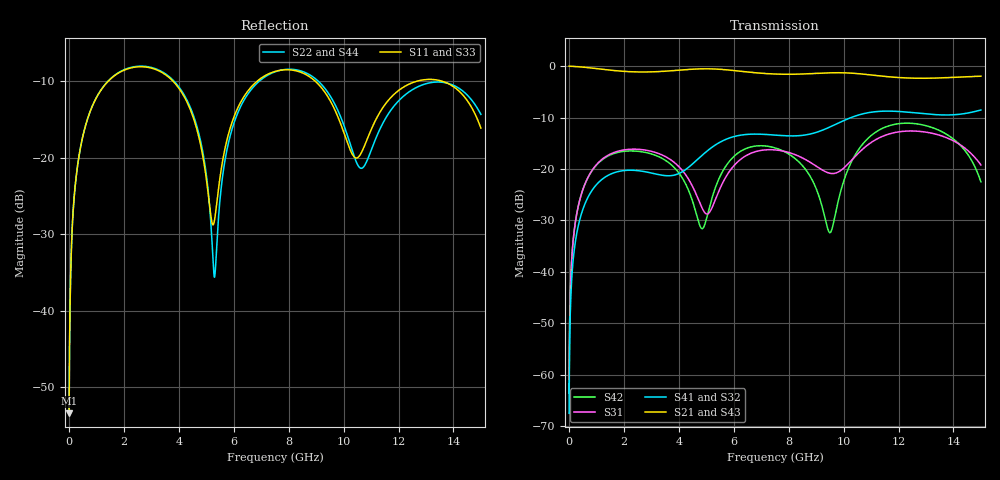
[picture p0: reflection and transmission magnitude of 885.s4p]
! Created with skrf 1.8.0 (http://scikit-rf.org).
# GHz S RI R 50.0
!freq ReS11 ImS11 ReS12 ImS12 ReS13 ImS13
! ReS14 ImS14
! ReS21 ImS21 ReS22 ImS22 ReS23 ImS23
! ReS24 ImS24
! ReS31 ImS31 ReS32 ImS32 ReS33 ImS33
! ReS34 ImS34
! ReS41 ImS41 ReS42 ImS42 ReS43 ImS43
! ReS44 ImS44
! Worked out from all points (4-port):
!   2499 points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, 5 MHz to 15 GHz, reference 50 ohm
!   strongest paths, dB at 5 MHz, 3.476 GHz, 7.19 GHz, 11.1 GHz, 15 GHz:
!     S21: 0.0, -1.0, -1.5, -1.8, -2.0
!     S43: 0.0, -1.0, -1.5, -1.8, -2.0
!     S41: -67.5, -21.3, -13.3, -8.9, -8.5
!     S32: -67.5, -21.3, -13.3, -8.9, -8.6
!     S31: -63.6, -17.5, -16.3, -14.5, -19.2
!     S42: -63.6, -18.2, -15.5, -13.1, -22.5
!   lowest |S11| = -53.4 dB at 5 MHz (marker M1), VSWR 1.00, Z = 50.2 + j0.13 ohm
!   |S11| at or under -10 dB: start of sweep to 1.428 GHz; 3.789 GHz to 6.851 GHz (3.062 GHz wide, 57.6 % of centre); 8.97 GHz to 12.67 GHz (3.698 GHz wide, 34.2 % of centre) (the widest 3 of 4)
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0.005  0.0017 0.0013  0.9983 -0.00331  8.51e-05 0.000655  -8.27e-05 -0.000414
       0.9983 -0.00331  0.0017 0.0013  -8.27e-05 -0.000414  8.49e-05 0.000656
       8.51e-05 0.000655  -8.27e-05 -0.000414  0.0017 0.0013  0.9983 -0.00331
       -8.27e-05 -0.000414  8.49e-05 0.000656  0.9983 -0.00331  0.0017 0.0013
0.3126303  0.0256 0.0851  0.965 -0.2059  0.0119 0.0387  -0.00962 -0.0242
           0.965 -0.2059  0.0257 0.085  -0.00961 -0.0242  0.0111 0.0388
           0.0119 0.0387  -0.00961 -0.0242  0.0256 0.0851  0.965 -0.2059
           -0.00962 -0.0242  0.0111 0.0388  0.965 -0.2059  0.0257 0.085
1.519383  0.275 0.1787  0.5374 -0.7369  0.1305 0.0516  -0.0892 -0.00432
          0.5374 -0.7369  0.2781 0.1766  -0.0891 -0.0045  0.1218 0.0637
          0.1305 0.0516  -0.0891 -0.0045  0.2751 0.1786  0.5374 -0.7369
          -0.0892 -0.00432  0.1218 0.0637  0.5374 -0.7369  0.278 0.1766
5.295957  0.0371 0.0111  -0.9363 -0.0452  -0.0246 0.0409  -0.00185 0.1688
          -0.9363 -0.0452  0.0165 -0.0013  -0.005 0.1688  0.0382 0.0488
          -0.0246 0.0409  -0.005 0.1688  0.0357 0.0117  -0.9363 -0.045
          -0.00185 0.1688  0.0382 0.0488  -0.9363 -0.045  0.0177 -0.000845
8.115882  0.3734 -0.0239  -0.0132 0.833  0.1058 -0.0941  0.2034 -0.0509
          -0.0132 0.833  0.3778 -0.0173  0.2035 -0.0447  0.1114 -0.0736
          0.1058 -0.0941  0.2035 -0.0447  0.3746 -0.0243  -0.0133 0.8327
          0.2034 -0.0509  0.1114 -0.0736  -0.0133 0.8327  0.3777 -0.017
10.87953  0.124 0.0531  0.8255 -0.0416  0.00187 0.1712  -0.0437 -0.349
          0.8255 -0.0416  0.0953 0.0232  -0.0324 -0.3501  0.0856 0.1779
          0.00187 0.1712  -0.0324 -0.3501  0.1225 0.0568  0.8254 -0.0418
          -0.0437 -0.349  0.0856 0.1779  0.8254 -0.0418  0.0961 0.0221
15  0.1141 -0.1066  -0.5615 -0.5662  -0.0294 -0.1056  -0.2382 0.2888
    -0.5615 -0.5662  0.1418 -0.1295  -0.2547 0.2723  0.0415 -0.0626
    -0.0294 -0.1056  -0.2547 0.2723  0.1068 -0.1176  -0.5602 -0.5668
    -0.2382 0.2888  0.0415 -0.0626  -0.5602 -0.5668  0.1505 -0.1215
